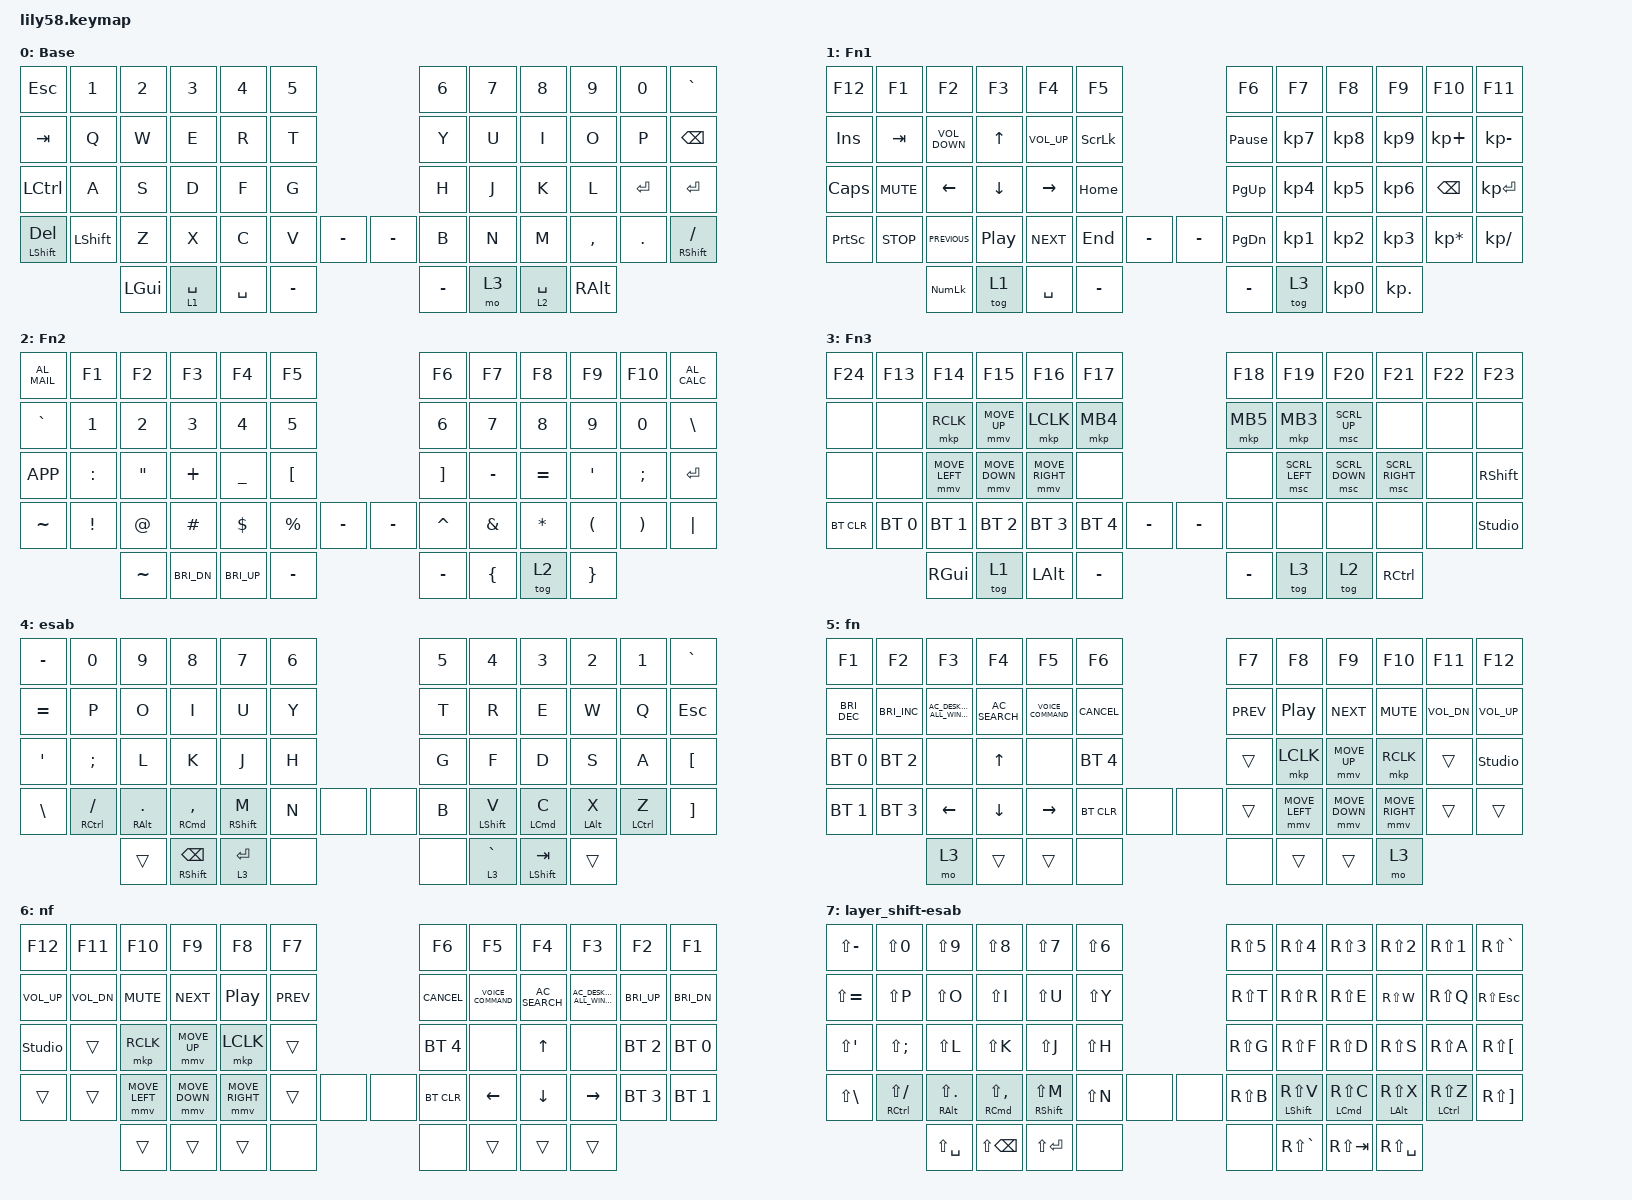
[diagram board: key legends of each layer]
#define ZMK_POINTING_DEFAULT_MOVE_VAL 1500  // default: 600
#define ZMK_POINTING_DEFAULT_SCRL_VAL 15    // default: 10

#include <behaviors.dtsi>
#include <dt-bindings/zmk/bt.h>
#include <dt-bindings/zmk/keys.h>
#include <dt-bindings/zmk/pointing.h>

/ {
    behaviors {
        #include "macros.dtsi"

        hm: homerow_mods {
            compatible = "zmk,behavior-hold-tap";
            label = "HOMEROW_MODS";
            #binding-cells = <2>;
            tapping-term-ms = <200>;
            quick_tap_ms = <175>;
            flavor = "tap-preferred";
            bindings = <&kp>, <&kp>;
        };

        hml: home_mod_left {
            compatible = "zmk,behavior-hold-tap";
            label = "HOME_MOD_LEFT";
            #binding-cells = <2>;
            flavor = "balanced";
            tapping-term-ms = <200>;
            quick-tap-ms = <175>;
            require-prior-idle-ms = <150>;
            bindings = <&kp>, <&kp>;

            // Triggers on Left Side Keys

            hold-trigger-key-positions = <
                // 0 1 2 3 4 5  // 1st row left
                6 7 8 9 10 11  // 1st row right
                // 12 13 14 15 16 17  // 2nd row left
                18 19 20 21 22 23  // 2nd row right
                // 24 25 26 27 28 29  // 3rd row left
                30 31 32 33 34 35  // 3rd row right
                // 36 37 38 39 40 41 42  // 4th row left
                37 38 39 40  // 4th row left mod
                43 44 45 46 47 48 49  // 4th row right
                50 51 52 53  // thumb cluster left
                54 55 56 57  // thumb cluster right
            >;
        };

        hmr: home_mod_right {
            compatible = "zmk,behavior-hold-tap";
            label = "HOME_MOD_RIGHT";
            #binding-cells = <2>;
            flavor = "balanced";
            tapping-term-ms = <200>;
            quick-tap-ms = <175>;
            require-prior-idle-ms = <150>;
            bindings = <&kp>, <&kp>;

            // Triggers on Right Side Keys

            hold-trigger-key-positions = <
                0 1 2 3 4 5  // 1st row left
                // 6 7 8 9 10 11  // 1st row right
                12 13 14 15 16 17  // 2nd row left
                // 18 19 20 21 22 23  // 2nd row right
                24 25 26 27 28 29  // 3rd row left
                // 30 31 32 33 34 35  // 3rd row right
                36 37 38 39 40 41 42  // 4th row left
                // 43 44 45 46 47 48 49  // 4th row right
                45 46 47 48  // 4th row right mod
                50 51 52 53  // thumb cluster left
                54 55 56 57  // thumb cluster right
            >;
        };

        mmr: mirror_mod_right {
            compatible = "zmk,behavior-hold-tap";
            label = "MIRROR_MOD_RIGHT";
            #binding-cells = <2>;
            flavor = "tap-preferred";
            tapping-term-ms = <200>;
            quick-tap-ms = <175>;
            bindings = <&kp>, <&kp>;

            // Triggers on Right Side Keys

            hold-trigger-key-positions = <
                // 0 1 2 3 4 5  // 1st row left
                6 7 8 9 10 11  // 1st row right
                // 12 13 14 15 16 17  // 2nd row left
                18 19 20 21 22 23  // 2nd row right
                // 24 25 26 27 28 29  // 3rd row left
                30 31 32 33 34 35  // 3rd row right
                // 36 37 38 39 40 41 42  // 4th row left
                43 44 45 46 47 48 49  // 4th row right
                // 50 51 52 53  // thumb cluster left
                54 55 56 57  // thumb cluster right
            >;
        };

        mml: mirror_mod_left {
            compatible = "zmk,behavior-hold-tap";
            label = "MIRROR_MOD_LEFT";
            #binding-cells = <2>;
            flavor = "tap-preferred";
            tapping-term-ms = <200>;
            quick-tap-ms = <175>;
            bindings = <&kp>, <&kp>;

            // Triggers on Left Side Keys

            hold-trigger-key-positions = <
                0 1 2 3 4 5  // 1st row left
                // 6 7 8 9 10 11  // 1st row right
                12 13 14 15 16 17  // 2nd row left
                // 18 19 20 21 22 23  // 2nd row right
                24 25 26 27 28 29  // 3rd row left
                // 30 31 32 33 34 35  // 3rd row right
                36 37 38 39 40 41 42  // 4th row left
                // 43 44 45 46 47 48 49  // 4th row right
                50 51 52 53  // thumb cluster left
                // 54 55 56 57  // thumb cluster right
            >;
        };

        mlr: mirror_layer_right {
            compatible = "zmk,behavior-hold-tap";
            label = "MIRROR_LAYER_RIGHT";
            #binding-cells = <2>;
            flavor = "tap-preferred";
            tapping-term-ms = <200>;
            quick-tap-ms = <175>;
            bindings = <&mo>, <&kp>;

            // Triggers on Right Side Keys

            hold-trigger-key-positions = <
                // 0 1 2 3 4 5  // 1st row left
                6 7 8 9 10 11  // 1st row right
                // 12 13 14 15 16 17  // 2nd row left
                18 19 20 21 22 23  // 2nd row right
                // 24 25 26 27 28 29  // 3rd row left
                30 31 32 33 34 35  // 3rd row right
                // 36 37 38 39 40 41 42  // 4th row left
                43 44 45 46 47 48 49  // 4th row right
                // 50 51 52 53  // thumb cluster left
                54 55 56 57  // thumb cluster right
            >;
        };

        mll: mirror_layer_left {
            compatible = "zmk,behavior-hold-tap";
            label = "MIRROR_LAYER_LEFT";
            #binding-cells = <2>;
            flavor = "tap-preferred";
            tapping-term-ms = <200>;
            quick-tap-ms = <175>;
            bindings = <&mo>, <&kp>;

            // Triggers on Left Side Keys

            hold-trigger-key-positions = <
                0 1 2 3 4 5  // 1st row left
                // 6 7 8 9 10 11  // 1st row right
                12 13 14 15 16 17  // 2nd row left
                // 18 19 20 21 22 23  // 2nd row right
                24 25 26 27 28 29  // 3rd row left
                // 30 31 32 33 34 35  // 3rd row right
                36 37 38 39 40 41 42  // 4th row left
                // 43 44 45 46 47 48 49  // 4th row right
                50 51 52 53  // thumb cluster left
                // 54 55 56 57  // thumb cluster right
            >;
        };
    };

    keymap {
        compatible = "zmk,keymap";

        default_layer {
            display-name = "Base";
            bindings = <
                &kp ESC       &kp N1    &kp N2 &kp N3 &kp N4 &kp N5                        &kp N6 &kp N7 &kp N8 &kp N9    &kp N0    &kp GRAVE
                &kp TAB       &kp Q     &kp W  &kp E  &kp R  &kp T                         &kp Y  &kp U  &kp I  &kp O     &kp P     &kp BACKSPACE
                &kp LCTRL     &kp A     &kp S  &kp D  &kp F  &kp G                         &kp H  &kp J  &kp K  &kp L     &kp ENTER &kp ENTER
                &mt LSHFT DEL &kp LSHFT &kp Z  &kp X  &kp C  &kp V     &kp MINUS &kp MINUS &kp B  &kp N  &kp M  &kp COMMA &kp DOT   &mt RSHIFT SLASH
                                        &kp LGUI &lt 1 SPACE &kp SPACE &kp MINUS &kp MINUS &mo 3  &lt 2 SPACE &kp RALT
            >;
        };

        layer_fn1 {
            display-name = "Fn1";
            bindings = <
                &kp F12   &kp F1     &kp F2            &kp F3           &kp F4          &kp F5                        &kp F6          &kp F7    &kp F8    &kp F9    &kp F10         &kp F11
                &kp INS   &kp TAB    &kp C_VOLUME_DOWN &kp UP           &kp C_VOLUME_UP &kp SLCK                      &kp PAUSE_BREAK &kp KP_N7 &kp KP_N8 &kp KP_N9 &kp KP_PLUS     &kp KP_MINUS
                &kp CAPS  &kp C_MUTE &kp LEFT          &kp DOWN         &kp RIGHT       &kp HOME                      &kp PAGE_UP     &kp KP_N4 &kp KP_N5 &kp KP_N6 &kp BACKSPACE   &kp KP_ENTER
                &kp PSCRN &kp C_STOP &kp C_PREVIOUS    &kp C_PLAY_PAUSE &kp C_NEXT      &kp END   &kp MINUS &kp MINUS &kp PAGE_DOWN   &kp KP_N1 &kp KP_N2 &kp KP_N3 &kp KP_MULTIPLY &kp KP_DIVIDE
                                                       &kp KP_NUMLOCK   &tog 1          &kp SPACE &kp MINUS &kp MINUS &tog 3          &kp KP_N0 &kp KP_DOT
            >;
        };

        layer_fn2 {
            display-name = "Fn2";
            bindings = <
                &kp C_AL_MAIL &kp F1    &kp F2  &kp F3    &kp F4       &kp F5                           &kp F6    &kp F7    &kp F8    &kp F9   &kp F10  &kp C_AL_CALC
                &kp GRAVE     &kp N1    &kp N2  &kp N3    &kp N4       &kp N5                           &kp N6    &kp N7    &kp N8    &kp N9   &kp N0   &kp BACKSLASH
                &kp K_APP     &kp COLON &kp DQT &kp PLUS  &kp UNDER    &kp LBKT                         &kp RBKT  &kp MINUS &kp EQUAL &kp SQT  &kp SEMI &kp ENTER
                &kp TILDE     &kp EXCL  &kp AT  &kp HASH  &kp DLLR     &kp PRCNT    &kp MINUS &kp MINUS &kp CARET &kp AMPS  &kp STAR  &kp LPAR &kp RPAR &kp PIPE
                                                &kp TILDE &kp C_BRI_DN &kp C_BRI_UP &kp MINUS &kp MINUS &kp LBRC  &tog 2    &kp RBRC
            >;
        };

        layer_fn3 {
            display-name = "Fn3";
            bindings = <
                &kp F24    &kp F13      &kp F14        &kp F15        &kp F16         &kp F17                          &kp F18  &kp F19        &kp F20        &kp F21         &kp F22 &kp F23
                &none      &none        &mkp RCLK      &mmv MOVE_UP   &mkp LCLK       &mkp MB4                         &mkp MB5 &mkp MB3       &msc SCRL_UP   &none           &none   &none
                &none      &none        &mmv MOVE_LEFT &mmv MOVE_DOWN &mmv MOVE_RIGHT &none                            &none    &msc SCRL_LEFT &msc SCRL_DOWN &msc SCRL_RIGHT &none   &kp RSHFT
                &bt BT_CLR &bt BT_SEL 0 &bt BT_SEL 1   &bt BT_SEL 2   &bt BT_SEL 3    &bt BT_SEL 4 &kp MINUS &kp MINUS &none    &none          &none          &none           &none   &studio_unlock
                                                       &kp RGUI       &tog 1          &kp LALT     &kp MINUS &kp MINUS &tog 3   &tog 2         &kp RCTRL
            >;
        };

        layer_esab {
            display-name = "esab";
            bindings = <
                &kp MINUS         &kp N0            &kp N9         &kp N8           &kp N7                      &kp N6                        &kp N5        &kp N4               &kp N3       &kp N2       &kp N1        &kp GRAVE
                &kp EQUAL         &kp P             &kp O          &kp I            &kp U                       &kp Y                         &kp T         &kp R                &kp E        &kp W        &kp Q         &kp ESCAPE
                &kp SINGLE_QUOTE  &kp SEMICOLON     &kp L          &kp K            &kp J                       &kp H                         &kp G         &kp F                &kp D        &kp S        &kp A         &kp LEFT_BRACKET
                &kp BACKSLASH     &hml RCTRL SLASH  &hml RALT DOT  &hml RCMD COMMA  &hml RSHFT M                &kp N         &none    &none  &kp B         &hmr LSHFT V         &hmr LCMD C  &hmr LALT X  &hmr LCTRL Z  &kp RIGHT_BRACKET
                                                                   &trans           &mml RIGHT_SHIFT BACKSPACE  &mll 3 ENTER  &none    &none  &mlr 3 GRAVE  &mmr LEFT_SHIFT TAB  &trans
            >;
        };

        layer_fn {
            display-name = "fn";
            bindings = <
                &kp F1                &kp F2                &kp F3                             &kp F4           &kp F5               &kp F6                        &kp F7      &kp F8            &kp F9          &kp F10          &kp F11       &kp F12
                &kp C_BRIGHTNESS_DEC  &kp C_BRIGHTNESS_INC  &kp C_AC_DESKTOP_SHOW_ALL_WINDOWS  &kp C_AC_SEARCH  &kp C_VOICE_COMMAND  &kp K_CANCEL                  &kp C_PREV  &kp C_PLAY_PAUSE  &kp C_NEXT      &kp C_MUTE       &kp C_VOL_DN  &kp C_VOL_UP
                &bt BT_SEL 0          &bt BT_SEL 2          &none                              &kp UP           &none                &bt BT_SEL 4                  &trans      &mkp LCLK         &mmv MOVE_UP    &mkp RCLK        &trans        &studio_unlock
                &bt BT_SEL 1          &bt BT_SEL 3          &kp LEFT                           &kp DOWN         &kp RIGHT            &bt BT_CLR    &none    &none  &trans      &mmv MOVE_LEFT    &mmv MOVE_DOWN  &mmv MOVE_RIGHT  &trans        &trans
                                                                                               &mo 3            &trans               &trans        &none    &none  &trans      &trans            &mo 3
            >;
        };

        layer_nf {
            display-name = "nf";
            bindings = <
                &kp F12         &kp F11       &kp F10         &kp F9          &kp F8           &kp F7                      &kp F6        &kp F5               &kp F4           &kp F3                             &kp F2        &kp F1
                &kp C_VOL_UP    &kp C_VOL_DN  &kp C_MUTE      &kp C_NEXT      &kp C_PP         &kp C_PREV                  &kp K_CANCEL  &kp C_VOICE_COMMAND  &kp C_AC_SEARCH  &kp C_AC_DESKTOP_SHOW_ALL_WINDOWS  &kp C_BRI_UP  &kp C_BRI_DN
                &studio_unlock  &trans        &mkp RCLK       &mmv MOVE_UP    &mkp LCLK        &trans                      &bt BT_SEL 4  &none                &kp UP           &none                              &bt BT_SEL 2  &bt BT_SEL 0
                &trans          &trans        &mmv MOVE_LEFT  &mmv MOVE_DOWN  &mmv MOVE_RIGHT  &trans      &none    &none  &bt BT_CLR    &kp LEFT             &kp DOWN         &kp RIGHT                          &bt BT_SEL 3  &bt BT_SEL 1
                                                              &trans          &trans           &trans      &none    &none  &trans        &trans               &trans
            >;
        };

        layer_shift-esab {
            bindings = <
                &kp LS(MINUS)  &kp LS(N0)           &kp LS(N9)         &kp LS(N8)           &kp LS(N7)         &kp LS(N6)                     &kp RS(N5)     &kp RS(N4)        &kp RS(N3)       &kp RS(N2)       &kp RS(N1)        &kp RS(GRAVE)
                &kp LS(EQUAL)  &kp LS(P)            &kp LS(O)          &kp LS(I)            &kp LS(U)          &kp LS(Y)                      &kp RS(T)      &kp RS(R)         &kp RS(E)        &kp RS(W)        &kp RS(Q)         &kp RS(ESC)
                &kp LS(SQT)    &kp LS(SEMI)         &kp LS(L)          &kp LS(K)            &kp LS(J)          &kp LS(H)                      &kp RS(G)      &kp RS(F)         &kp RS(D)        &kp RS(S)        &kp RS(A)         &kp RS(LBKT)
                &kp LS(BSLH)   &hml RCTRL LS(FSLH)  &hml RALT LS(DOT)  &hml RCMD LS(COMMA)  &hml RSHFT LS(M)   &kp LS(N)      &none    &none  &kp RS(B)      &hmr LSHFT RS(V)  &hmr LCMD RS(C)  &hmr LALT RS(X)  &hmr LCTRL RS(Z)  &kp RS(RBKT)
                                                                       &kp LS(SPACE)        &kp LS(BACKSPACE)  &kp LS(ENTER)  &none    &none  &kp RS(GRAVE)  &kp RS(TAB)       &kp RS(SPACE)
            >;
        };
    };
};
